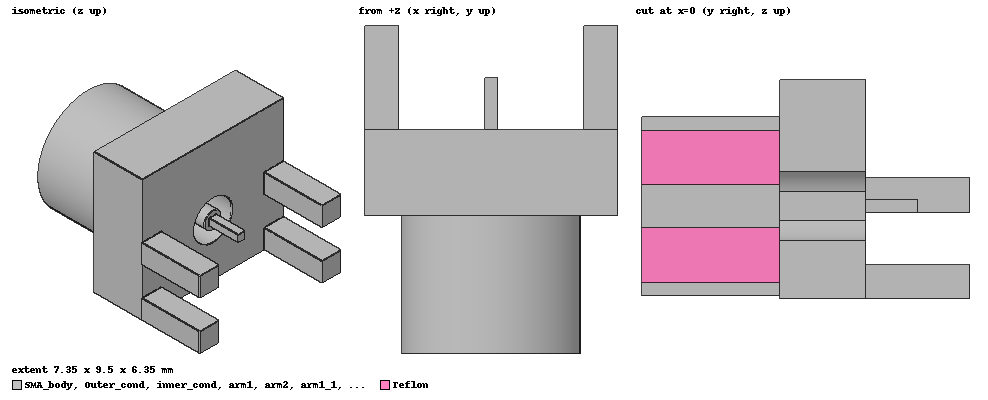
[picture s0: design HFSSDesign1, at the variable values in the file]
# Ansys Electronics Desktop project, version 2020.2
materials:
  vacuum: permittivity=1
  pec: conductivity=1e+30
  Teflon (tm): permittivity=2.1 dielectric_loss_tangent=0.001

design HFSSDesign1 (HFSS, DrivenModal, model units mm)
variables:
  SX = 7.35mm
  SY = 2.5mm
  SZ = 6.35mm
  subH = 1.5mm
  pinD = 0.36mm
  pinL = 1.5mm
  in = 0.43mm
  OutD = 2.6mm
  OutL = 4mm
  TefD = 2.2mm
  innerD = 0.63mm
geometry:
  SMA_body [pec] = box(corner=(-SX/2, 0mm, 0mm), size=(SX, SY, SZ))
  coordinate_system RelativeCS1 = origin=(3.675mm, 2.5mm, 0mm) x=(1mm, 0mm, 0mm) y=(0mm, 1mm, 0mm)
  arm1 [pec] = box(corner=(0mm, 0mm, 0mm), size=(-1mm, 3mm, 1mm)) in RelativeCS1
  coordinate_system RelativeCS2 = origin=(-7.35mm, 0mm, 0mm) x=(1mm, 0mm, 0mm) y=(0mm, 1mm, 0mm) in RelativeCS1
  arm2 [pec] = box(corner=(0mm, 0mm, 0mm), size=(1mm, 3mm, 1mm)) in RelativeCS2
  coordinate_system RelativeCS3 = origin=(0mm, 0mm, 1mm) x=(1mm, 0mm, 0mm) y=(0mm, 1mm, 0mm) in RelativeCS2
  coordinate_system RelativeCS4 = origin=(-2mm, -1.4mm, 0mm) x=(1mm, 0mm, 0mm) y=(0mm, 1mm, 0mm) in RelativeCS3
  coordinate_system RelativeCS5 = origin=(-3.8mm, -2.8mm, 0mm) x=(1mm, 0mm, 0mm) y=(0mm, 1mm, 0mm) in RelativeCS3
  coordinate_system RelativeCS6 = origin=(0mm, 0mm, Subh) x=(1mm, 0mm, 0mm) y=(0mm, 1mm, 0mm) in RelativeCS3
  arm1_1 [pec] = arm1.duplicate_along_line(step=(0mm, 0mm, 2.5mm), total=2) in RelativeCS6
  arm2_1 [pec] = arm2.duplicate_along_line(step=(0mm, 0mm, 2.5mm), total=2) in RelativeCS6
  coordinate_system Center_CS = origin=(SX/2, 0mm, 0mm) x=(1mm, 0mm, 0mm) y=(0mm, 1mm, 0mm) in RelativeCS6
  coordinate_system pin_CS = origin=(0mm, 0mm, pinD/2) x=(1mm, 0mm, 0mm) y=(0mm, 1mm, 0mm) in Center_CS
  Center_pin [pec] = box(corner=(-pinD/2, 0mm, -pinD/2), size=(pinD, pinL, pinD)) in pin_CS
  Vacuum_cyl = cylinder(axis=Y, base_centre=(0mm, 0mm, 0mm), radius=1mm, height=-SY) in pin_CS
  SMA_body.subtract(Vacuum_cyl)
  inner_pin_1 [pec] = cylinder(axis=Y, base_centre=(0mm, 0mm, 0mm), radius=in, height=-SY) in pin_CS
  coordinate_system Out_CS = origin=(0mm, -SY, 0mm) x=(1mm, 0mm, 0mm) y=(0mm, 1mm, 0mm) in pin_CS
  Outer_cond [pec] = cylinder(axis=Y, base_centre=(0mm, 0mm, 0mm), radius=OutD, height=-OutL) in Out_CS
  Teflon [Teflon (tm)] = cylinder(axis=Y, base_centre=(0mm, 0mm, 0mm), radius=TefD, height=-OutL) in Out_CS
  Teflon_1 = Teflon.copy()
  Outer_cond.subtract(Teflon_1)
  inner_cond [pec] = cylinder(axis=Y, base_centre=(0mm, 0mm, 0mm), radius=innerD, height=-OutL) in Out_CS
  inner_cond_1 = inner_cond.copy()
  Teflon.subtract(inner_cond_1)
  coordinate_system RelativeCS7 = origin=(0mm, -OutL, 0mm) x=(1mm, 0mm, 0mm) y=(0mm, 1mm, 0mm) in Out_CS
  Circle1 = circle(normal=Y, centre=(0mm, 0mm, 0mm), radius=OutD) in RelativeCS7
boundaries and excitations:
  1: Wave Port Objects=Circle1 NumModes=1 Modes{Mode1{IntLine{Teflon.vertex(1 of 2) -> inner_cond.vertex(1 of 2)} CharImp=Zpi}}
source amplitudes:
  1:1: 1W 0deg
